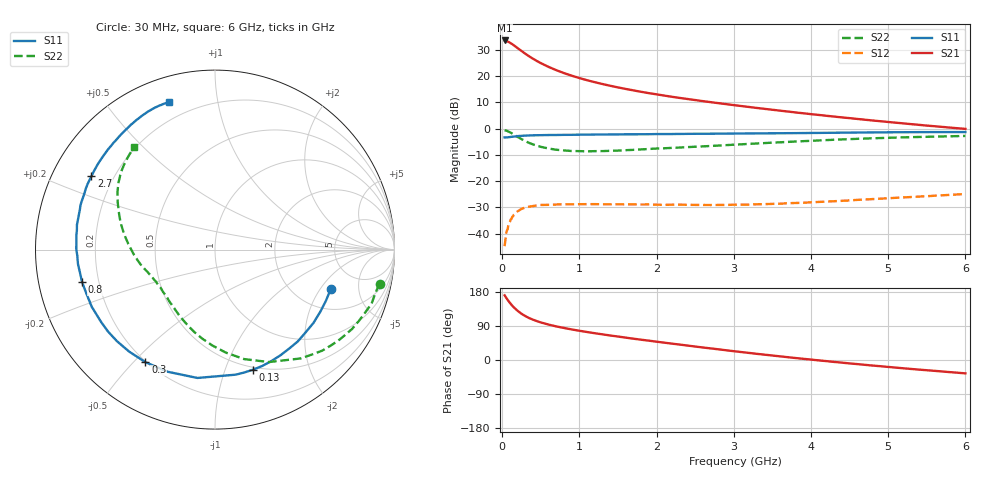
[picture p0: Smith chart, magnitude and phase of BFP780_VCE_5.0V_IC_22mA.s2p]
! Infineon Technologies  Discrete & RF Semiconductors
! BFP780
! VCE =  5.0 V,  IC =  22 mA
! Common Emitter S-Parameters:  Jul 2015
# GHz  S  MA  R  50
!  f  S11  S21  S12  S22
! GHz  MAG  ANG  MAG  ANG  MAG  ANG  MAG  ANG
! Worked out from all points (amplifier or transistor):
!   75 points, 30 MHz to 6 GHz, reference 50 ohm
!   highest |S21| = 33.6 dB at 30 MHz (marker M1)
!   |S21| within 3 dB of that: start of sweep to 202.2 MHz
!   unconditionally stable (mu >= 1): 2.265 GHz to end of sweep
!   at 150 MHz: K = 0.13, MSG = 32.2 dB, |S12| = -32.8 dB
!   at 2.3 GHz: K = 1.01, MAG = 19.6 dB, |S12| = -28.9 dB
!   at 6 GHz: K = 1.25, MAG = 9.4 dB, |S12| = -24.9 dB
!   S11 on the Smith chart (normalised r, x): 30 MHz: 3.05, -2.52; 130 MHz: 0.47, -1.25; 300 MHz: 0.20, -0.54; 800 MHz: 0.14, -0.12; 2.7 GHz: 0.12, +0.27; 6 GHz: 0.11, +0.73
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0.03  0.6814 -19.0  47.73 170.6  0.0058 59.7  0.9361 -11.7
0.05  0.6813 -30.6  46.81 164.3  0.0103 74.0  0.9229 -19.0
0.08  0.6889 -48.0  44.81 155.7  0.0151 62.1  0.8822 -30.1
0.1  0.6927 -58.3  43.15 150.5  0.0171 57.1  0.8526 -36.7
0.13  0.7018 -72.5  40.48 143.2  0.0211 51.4  0.8029 -46.1
0.15  0.7063 -80.6  38.54 138.9  0.023 49.7  0.7716 -51.8
0.2  0.7218 -97.8  33.98 129.5  0.0268 41.6  0.6953 -64.3
0.25  0.7297 -111.1  30.02 121.9  0.0298 36.2  0.6319 -75.0
0.3  0.7373 -121.7  26.57 115.7  0.0316 31.0  0.5771 -84.0
0.35  0.7428 -130.1  23.71 110.5  0.0328 27.9  0.5337 -91.7
0.4  0.7475 -137.0  21.35 106.2  0.0337 24.8  0.5003 -98.3
0.5  0.7518 -147.4  17.66 99.1  0.0353 20.0  0.4508 -109.3
0.6  0.757 -155.1  14.98 93.4  0.0355 17.1  0.419 -118.1
0.8  0.7624 -166.2  11.42 84.5  0.0364 13.2  0.3849 -131.3
1.1  0.7679 -177.4  8.339 73.8  0.0366 9.8  0.3703 -144.8
1.5  0.7768 172.2  6.088 61.9  0.0364 7.7  0.3824 -156.7
2.1  0.7902 159.8  4.256 45.7  0.0355 7.3  0.4236 -169.0
2.7  0.8003 149.3  3.195 30.6  0.0352 9.2  0.4682 179.6
3.1  0.8093 142.7  2.693 20.9  0.0358 11.6  0.5042 172.1
4.1  0.8303 127.9  1.825 -1.0  0.0403 17.0  0.5964 155.1
5.1  0.855 116.0  1.299 -20.1  0.0483 17.7  0.6764 140.6
6  0.8614 107.4  0.99 -35.3  0.0572 14.8  0.7265 128.3
